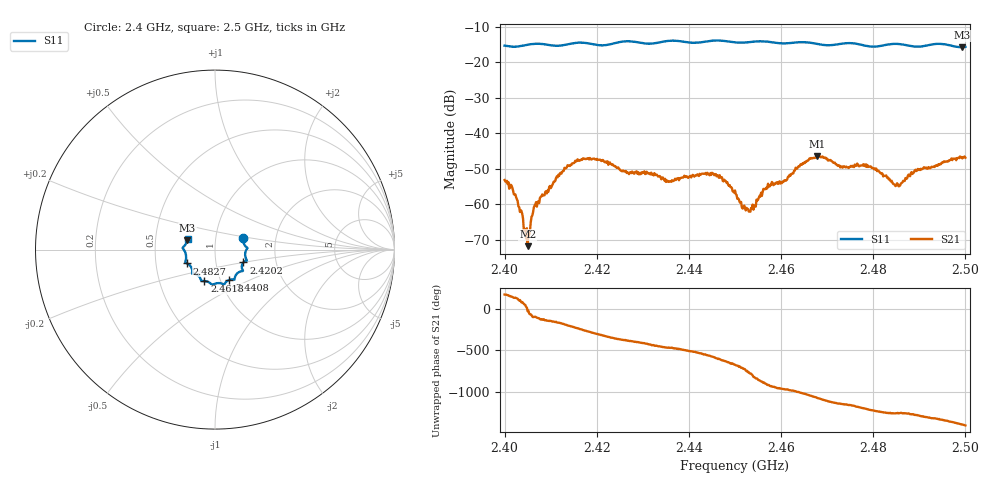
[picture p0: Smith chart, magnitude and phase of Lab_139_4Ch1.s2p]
# Hz S RI R 50
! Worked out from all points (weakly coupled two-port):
!   601 points, 2.4 GHz to 2.5 GHz, reference 50 ohm
!   highest |S21| = -46.54 dB at 2.4678 GHz (marker M1); lowest = -71.8 dB at 2.405 GHz (marker M2)
!   lowest |S11| = -15.8 dB at 2.4993 GHz (marker M3), VSWR 1.39, Z = 36.5 + j3.85 ohm
!   |S11| at or under -10 dB: start of sweep to end of sweep
!   S12 and S22 are empty: the file has one direction only
!   S11 on the Smith chart (normalised r, x): 2.4 GHz: 1.36, +0.18; 2.4202 GHz: 1.36, -0.20; 2.4408 GHz: 1.10, -0.39; 2.4618 GHz: 0.84, -0.30; 2.4827 GHz: 0.72, -0.11; 2.5 GHz: 0.73, +0.09
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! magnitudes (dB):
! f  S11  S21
! 2.4 GHz  -15.4  -53.2
! 2.4018 GHz  -15.7  -56.2
! 2.405 GHz  -15.1  -71.8
! 2.4063 GHz  -14.9  -61.0
! 2.4077 GHz  -14.9  -58.2
! 2.4167 GHz  -14.5  -47.4
! 2.4202 GHz  -15.2  -47.6
! 2.4333 GHz  -14.5  -52.2
! 2.4408 GHz  -14.6  -51.7
! 2.4462 GHz  -13.9  -51.9
! 2.45 GHz  -14.5  -56.1
! 2.4532 GHz  -14.4  -62.0
! 2.4567 GHz  -14.2  -55.8
! 2.4618 GHz  -14.6  -51.7
! 2.4667 GHz  -14.6  -47.1
! 2.4678 GHz  -14.9  -46.5
! 2.4827 GHz  -15.2  -52.0
! 2.4833 GHz  -15.0  -53.0
! 2.4853 GHz  -14.9  -54.4
! 2.4895 GHz  -15.7  -50.5
! 2.4993 GHz  -15.8  -47.1
! 2.5 GHz  -15.7  -46.9
